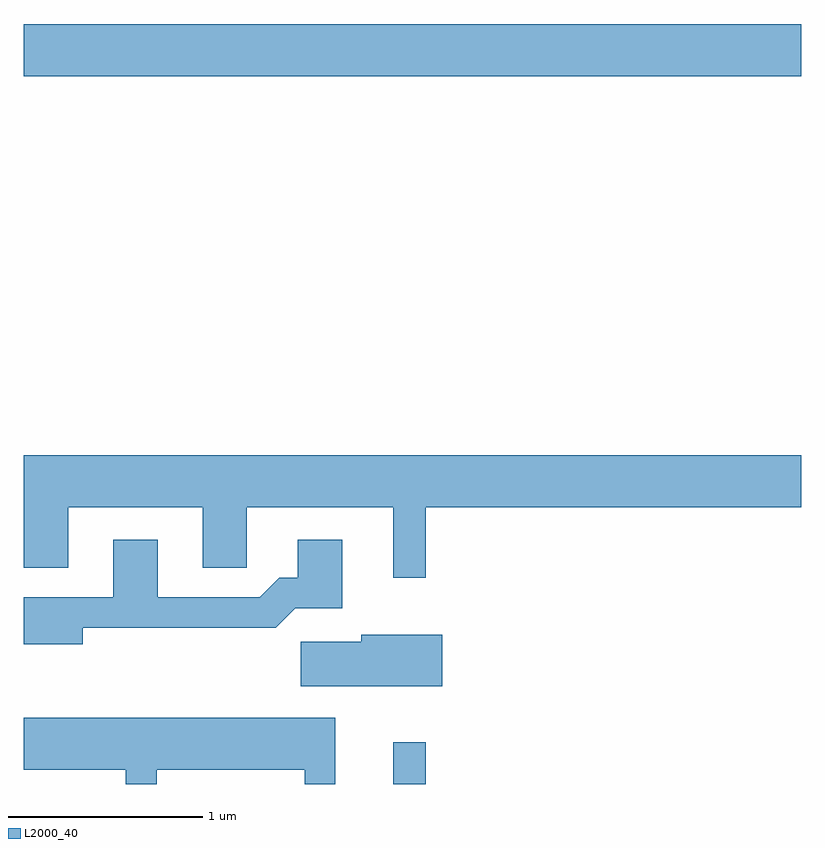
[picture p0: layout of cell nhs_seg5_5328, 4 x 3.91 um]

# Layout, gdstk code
import gdstk
lib = gdstk.Library(unit=1e-6, precision=1e-09)
def R(c, l, rs):  # rectangles x0, y0, x1, y1
    for r in rs: c.add(gdstk.rectangle(r[:2], r[2:], *l))
def P(c, l, *ps):  # polygons
    for p in ps: c.add(gdstk.Polygon(p, *l))
L2000_40 = (2000, 40)

nhs_seg5_5328 = lib.new_cell('nhs_seg5_5328')
R(nhs_seg5_5328, L2000_40, [(345.511,1422.072,345.679,1422.288), (343.611,1425.716,347.611,1425.984)])
P(nhs_seg5_5328, L2000_40, [(345.679,1423.496),(347.611,1423.496),(347.611,1423.764),(343.611,1423.764),(343.611,1423.186),(343.839,1423.186),(343.839,1423.496),(344.531,1423.496),(344.531,1423.186),(344.759,1423.186),(344.759,1423.496),(345.511,1423.496),(345.511,1423.133),(345.679,1423.133)],
  [(343.914,1422.876),(344.907,1422.876),(345.007,1422.976),(345.249,1422.976),(345.249,1423.329),(345.021,1423.329),(345.021,1423.134),(344.924,1423.134),(344.824,1423.034),(344.299,1423.034),(344.299,1423.329),(344.071,1423.329),(344.071,1423.034),(343.611,1423.034),(343.611,1422.791),(343.914,1422.791)],
  [(345.764,1422.839),(345.346,1422.839),(345.346,1422.804),(345.036,1422.804),(345.036,1422.576),(345.764,1422.576)],
  [(344.294,1422.146),(345.056,1422.146),(345.056,1422.072),(345.214,1422.072),(345.214,1422.414),(343.611,1422.414),(343.611,1422.146),(344.136,1422.146),(344.136,1422.072),(344.294,1422.072)])

lib.write_gds('nhs_seg5_5328.gds')
